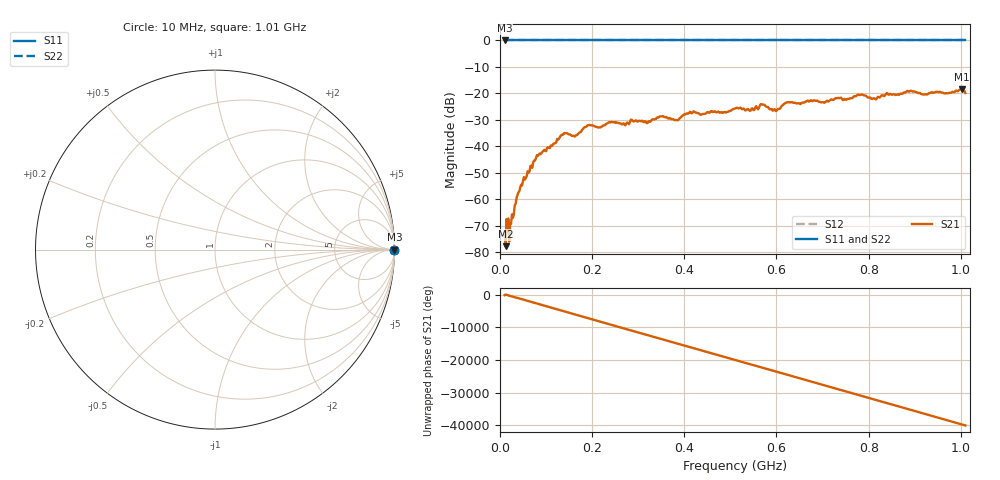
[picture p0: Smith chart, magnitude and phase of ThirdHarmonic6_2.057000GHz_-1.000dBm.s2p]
! 8/17/2025 12:39:24 AM
! C:\ANRITSUVNA\TEMP\TEMP.S2P
! CHANNEL.1
! TR.MEASUREMENT
! RAW.DATA
! RF.CORRECTION.OFF
! AVERAGING.OFF
! IF.BANDWIDTH: 5KHZ
! SWEEPTYPE:  FREQ.SWEEP(Linear)
! Reference Plane Port Info
! PORT:  PORT1  PORT2
! DISTANCE:  0  m  0  m
! TIME:  0  s  0  s
! PHASE.OFFSET:  0  deg.  0  deg.
! LOSS:  0  dB  0  dB
! REF.LOSS:  0  dB  0  dB
! REF.FREQ:  0  Hz  0  Hz
! Power Info
! POWER:  -20  dBm  -20  dBm
! EFF.POWER:  -20  dBm  -20  dBm
! SOURCE.ATTEN:  0  dB  0  dB
! TEST.ATTEN:  0  dB  0  dB
# GHZ S RI R 50.0
! FREQ.GHZ  S11RE  S11IM  S21RE  S21IM  S12RE  S12IM  S22RE  S22IM
!; PortSelection: Port_12
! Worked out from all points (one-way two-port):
!   501 points, 10 MHz to 1.01 GHz, reference 50 ohm
!   highest |S21| = -18.51 dB at 1.002 GHz (marker M1); lowest = -77.7 dB at 12 MHz (marker M2)
!   lowest |S11| = 0.0 dB at 10 MHz (marker M3)
!   |S11| at or under -10 dB: nowhere
!   |S22| runs from 0.0 to 0.0 dB; largest |S21 - S12| = 1.1
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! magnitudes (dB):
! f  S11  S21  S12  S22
! 10 MHz  0.0  -72.4  0.0  0.0
! 12 MHz  0.0  -77.7  0.0  0.0
! 24 MHz  0.0  -69.2  0.0  0.0
! 36 MHz  0.0  -59.3  0.0  0.0
! 48 MHz  0.0  -54.8  0.0  0.0
! 82 MHz  0.0  -43.6  0.0  0.0
! 136 MHz  0.0  -35.7  0.0  0.0
! 164 MHz  0.0  -36.0  0.0  0.0
! 178 MHz  0.0  -33.8  0.0  0.0
! 194 MHz  0.0  -31.9  0.0  0.0
! 322 MHz  0.0  -30.6  0.0  0.0
! 344 MHz  0.0  -29.1  0.0  0.0
! 384 MHz  0.0  -30.1  0.0  0.0
! 416 MHz  0.0  -27.5  0.0  0.0
! 510 MHz  0.0  -25.7  0.0  0.0
! 570 MHz  0.0  -24.2  0.0  0.0
! 596 MHz  0.0  -25.9  0.0  0.0
! 622 MHz  0.0  -23.5  0.0  0.0
! 678 MHz  0.0  -22.9  0.0  0.0
! 844 MHz  0.0  -20.5  0.0  0.0
! 1.002 GHz  0.0  -18.5  0.0  0.0
! 1.01 GHz  0.0  -19.8  0.0  0.0
